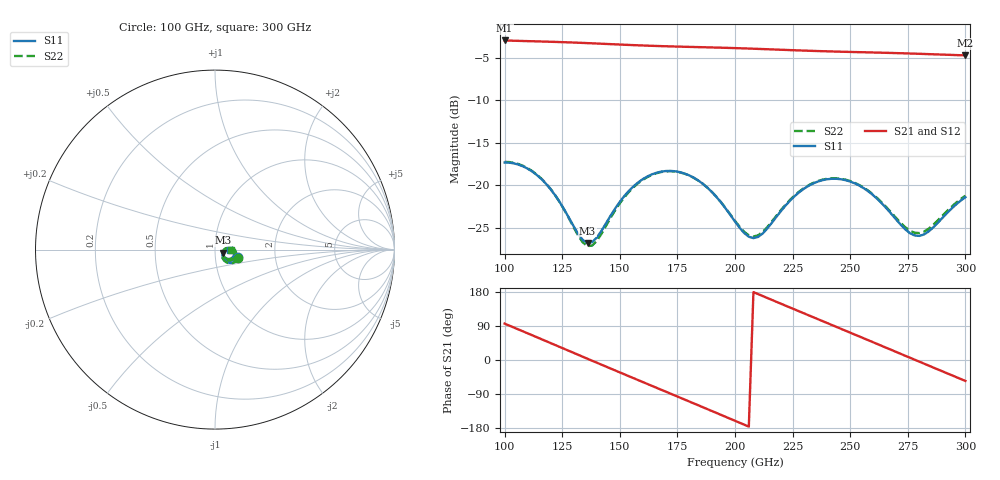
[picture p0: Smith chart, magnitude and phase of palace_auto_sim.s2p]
#  GHZ S DB R 50
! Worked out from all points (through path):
!   101 points, 100 GHz to 300 GHz, reference 50 ohm
!   highest |S21| = -2.99 dB at 100 GHz (marker M1); lowest = -4.7 dB at 300 GHz (marker M2)
!   group delay of S21, straight-line fit = 7.1 ps
!   lowest |S11| = -26.8 dB at 136 GHz (marker M3), VSWR 1.10, Z = 54.4 - j1.82 ohm
!   |S11| at or under -10 dB: start of sweep to end of sweep
!   |S22| runs from -27.1 to -17.2 dB; largest |S21 - S12| = 7.8e-14
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100  -17.31 -18.4  -2.99 96.0  -2.99 96.0  -17.24 -19.6
108  -17.76 -31.3  -3.05 75.5  -3.05 75.5  -17.70 -32.6
116  -19.26 -42.5  -3.11 54.9  -3.11 54.9  -19.21 -44.1
126  -22.89 -47.7  -3.19 29.1  -3.19 29.1  -22.91 -50.1
134  -26.42 -30.1  -3.28 8.4  -3.28 8.4  -26.71 -32.6
136  -26.76 -21.3  -3.30 3.2  -3.30 3.2  -27.13 -23.3
140  -26.13 -4.2  -3.35 -7.1  -3.35 -7.1  -26.53 -4.8
150  -21.93 9.1  -3.47 -32.7  -3.47 -32.7  -22.11 9.5
160  -19.26 0.2  -3.58 -58.2  -3.58 -58.2  -19.34 0.4
168  -18.38 -11.2  -3.65 -78.6  -3.65 -78.6  -18.43 -11.0
182  -19.08 -31.7  -3.75 -114.2  -3.75 -114.2  -19.09 -31.5
192  -21.37 -41.5  -3.82 -139.8  -3.82 -139.8  -21.35 -41.2
200  -24.24 -39.1  -3.88 -160.4  -3.88 -160.4  -24.16 -38.6
210  -26.05 -11.5  -3.98 174.0  -3.98 174.0  -25.86 -11.8
222  -22.35 5.3  -4.10 143.3  -4.10 143.3  -22.24 4.4
234  -19.76 -4.6  -4.21 112.8  -4.21 112.8  -19.70 -5.3
242  -19.22 -15.1  -4.28 92.5  -4.28 92.5  -19.17 -15.7
250  -19.54 -25.8  -4.33 72.2  -4.33 72.2  -19.49 -26.2
268  -23.39 -38.0  -4.46 26.3  -4.46 26.3  -23.24 -37.8
280  -25.93 -16.4  -4.55 -4.4  -4.55 -4.4  -25.59 -16.8
290  -23.82 1.0  -4.65 -29.9  -4.65 -29.9  -23.57 -0.4
300  -21.38 -1.1  -4.74 -55.3  -4.74 -55.3  -21.21 -2.4
